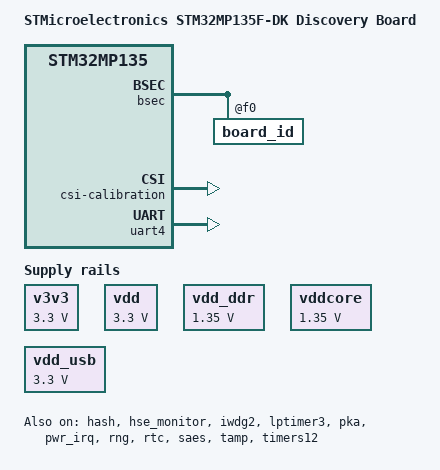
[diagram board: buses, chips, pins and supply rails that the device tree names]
// SPDX-License-Identifier: (GPL-2.0+ OR BSD-3-Clause)
/*
 * Copyright (C) MYiR 2023 - All Rights Reserved
 * Author: Alexhu <fan.hu@myirtech.com>
 */

/dts-v1/;

#include <dt-bindings/clock/stm32mp13-clksrc.h>
#include <dt-bindings/gpio/gpio.h>
#include <dt-bindings/gpio/stm32mp_gpio.h>
#include <dt-bindings/power/stm32mp1-power.h>
#include <dt-bindings/rtc/rtc-stm32.h>
#include <dt-bindings/soc/stm32mp-tzc400-macro.h>
#include <dt-bindings/soc/stm32mp13-etzpc.h>
#include <dt-bindings/soc/stm32mp13-tzc400.h>
#include "stm32mp135.dtsi"
#include "stm32mp13xf.dtsi"
#include "myb-stm32mp13-pinctrl.dtsi"

/ {
	model = "STMicroelectronics STM32MP135F-DK Discovery Board";
	compatible = "st,stm32mp135f-dk", "st,stm32mp135";

	cpu0-opp-table {
                opp-1000000000 {
                        opp-hz = /bits/ 64 <1000000000>;
                        opp-microvolt = <1350000>;
                        opp-supported-hw = <0x2>;
                        st,opp-default;
                };
		/delete-node/ opp-650000000;
    };

	aliases {
		serial0 = &uart4;
		// serial1 = &usart1;
	};

	chosen {
		stdout-path = "serial0:115200n8";
	};

	v3v3: v3v3 {
		compatible = "regulator-fixed";
		regulator-name = "v3v3";
		regulator-min-microvolt = <3300000>;
		regulator-max-microvolt = <3300000>;
		regulator-always-on;
	};

	vdd: vdd {
		compatible = "regulator-fixed";
		regulator-name = "vdd";
		regulator-min-microvolt = <3300000>;
		regulator-max-microvolt = <3300000>;
	};

	vdd_ddr: vdd_ddr {
		compatible = "regulator-fixed";
		regulator-name = "vdd_ddr";
		regulator-min-microvolt = <1350000>;
		regulator-max-microvolt = <1350000>;
	};

	vddcore: vddcore {
		compatible = "regulator-fixed";
		regulator-name = "vddcore";
		regulator-min-microvolt = <1350000>;
		regulator-max-microvolt = <1350000>;
	};

	vdd_usb: vdd_usb {
		compatible = "regulator-fixed";
		regulator-name = "vdd_usb";
		regulator-min-microvolt = <3300000>;
		regulator-max-microvolt = <3300000>;
	};

};

&adc_2 {
	status = "disabled";
};

&bsec {
	board_id: board_id@f0 {
		reg = <0xf0 0x4>;
		st,non-secure-otp;
	};
};

&cpu0 {
	cpu-supply = <&vddcore>;
};

&etzpc {
	st,decprot = <
		DECPROT(STM32MP1_ETZPC_ADC1_ID, DECPROT_NS_RW, DECPROT_UNLOCK)
		DECPROT(STM32MP1_ETZPC_ADC2_ID, DECPROT_NS_RW, DECPROT_UNLOCK)
		DECPROT(STM32MP1_ETZPC_BKPSRAM_ID, DECPROT_S_RW, DECPROT_UNLOCK)
		DECPROT(STM32MP1_ETZPC_CRYP_ID, DECPROT_NS_RW, DECPROT_UNLOCK)
		DECPROT(STM32MP1_ETZPC_DCMIPP_ID, DECPROT_NS_RW, DECPROT_UNLOCK)
		DECPROT(STM32MP1_ETZPC_DDRCTRLPHY_ID, DECPROT_NS_R_S_W, DECPROT_UNLOCK)
		DECPROT(STM32MP1_ETZPC_ETH1_ID, DECPROT_NS_RW, DECPROT_UNLOCK)
		DECPROT(STM32MP1_ETZPC_ETH2_ID, DECPROT_NS_RW, DECPROT_UNLOCK)
		DECPROT(STM32MP1_ETZPC_FMC_ID, DECPROT_NS_RW, DECPROT_UNLOCK)
		DECPROT(STM32MP1_ETZPC_HASH_ID, DECPROT_S_RW, DECPROT_UNLOCK)
		DECPROT(STM32MP1_ETZPC_I2C3_ID, DECPROT_NS_RW, DECPROT_UNLOCK)
		DECPROT(STM32MP1_ETZPC_I2C4_ID, DECPROT_NS_RW, DECPROT_UNLOCK)
		DECPROT(STM32MP1_ETZPC_I2C5_ID, DECPROT_NS_RW, DECPROT_UNLOCK)
		DECPROT(STM32MP1_ETZPC_IWDG1_ID, DECPROT_S_RW, DECPROT_UNLOCK)
		DECPROT(STM32MP1_ETZPC_LPTIM2_ID, DECPROT_NS_RW, DECPROT_UNLOCK)
		DECPROT(STM32MP1_ETZPC_LPTIM3_ID, DECPROT_S_RW, DECPROT_UNLOCK)
		DECPROT(STM32MP1_ETZPC_LTDC_ID, DECPROT_NS_RW, DECPROT_UNLOCK)
		DECPROT(STM32MP1_ETZPC_MCE_ID, DECPROT_S_RW, DECPROT_UNLOCK)
		DECPROT(STM32MP1_ETZPC_OTG_ID, DECPROT_NS_RW, DECPROT_UNLOCK)
		DECPROT(STM32MP1_ETZPC_PKA_ID, DECPROT_S_RW, DECPROT_UNLOCK)
		DECPROT(STM32MP1_ETZPC_QSPI_ID, DECPROT_NS_RW, DECPROT_UNLOCK)
		DECPROT(STM32MP1_ETZPC_RNG_ID, DECPROT_S_RW, DECPROT_UNLOCK)
		DECPROT(STM32MP1_ETZPC_SAES_ID, DECPROT_S_RW, DECPROT_UNLOCK)
		DECPROT(STM32MP1_ETZPC_SDMMC1_ID, DECPROT_NS_RW, DECPROT_UNLOCK)
		DECPROT(STM32MP1_ETZPC_SDMMC2_ID, DECPROT_NS_RW, DECPROT_UNLOCK)
		DECPROT(STM32MP1_ETZPC_SPI4_ID, DECPROT_NS_RW, DECPROT_UNLOCK)
		DECPROT(STM32MP1_ETZPC_SPI5_ID, DECPROT_NS_RW, DECPROT_UNLOCK)
		DECPROT(STM32MP1_ETZPC_SRAM1_ID, DECPROT_NS_RW, DECPROT_UNLOCK)
		DECPROT(STM32MP1_ETZPC_SRAM2_ID, DECPROT_NS_RW, DECPROT_UNLOCK)
		DECPROT(STM32MP1_ETZPC_SRAM3_ID, DECPROT_S_RW, DECPROT_UNLOCK)
		DECPROT(STM32MP1_ETZPC_STGENC_ID, DECPROT_S_RW, DECPROT_UNLOCK)
		DECPROT(STM32MP1_ETZPC_TIM12_ID, DECPROT_S_RW, DECPROT_UNLOCK)
		DECPROT(STM32MP1_ETZPC_TIM13_ID, DECPROT_NS_RW, DECPROT_UNLOCK)
		DECPROT(STM32MP1_ETZPC_TIM14_ID, DECPROT_NS_RW, DECPROT_UNLOCK)
		DECPROT(STM32MP1_ETZPC_TIM15_ID, DECPROT_S_RW, DECPROT_UNLOCK)
		DECPROT(STM32MP1_ETZPC_TIM16_ID, DECPROT_NS_RW, DECPROT_UNLOCK)
		DECPROT(STM32MP1_ETZPC_TIM17_ID, DECPROT_NS_RW, DECPROT_UNLOCK)
		DECPROT(STM32MP1_ETZPC_USART1_ID, DECPROT_NS_RW, DECPROT_UNLOCK)
		DECPROT(STM32MP1_ETZPC_USART2_ID, DECPROT_NS_RW, DECPROT_UNLOCK)
		DECPROT(STM32MP1_ETZPC_USBPHYCTRL_ID, DECPROT_NS_RW, DECPROT_UNLOCK)
		DECPROT(STM32MP1_ETZPC_VREFBUF_ID, DECPROT_NS_RW, DECPROT_UNLOCK)
	>;
};

&gpioi {
	st,protreg = < (TZPROT(3)) >;
};

&hash {
	status = "okay";
};

&hse_monitor {
	status = "okay";
};

&i2c4 {
	pinctrl-names = "default";
	// pinctrl-0 = <&i2c4_pins_a>;
	i2c-scl-rising-time-ns = <185>;
	i2c-scl-falling-time-ns = <20>;
	clock-frequency = <400000>;
	status = "disabled";
};

&iwdg2 {
	timeout-sec = <32>;
	secure-timeout-sec = <5>;
	status = "okay";
};

&lptimer3 {
	status = "okay";

	counter {
		status = "okay";
	};
};

&ltdc {
	pinctrl-names = "default";
	pinctrl-0 = <&ltdc_pins_a>;
	status = "disabled";
};

&oem_enc_key {
	st,non-secure-otp-provisioning;
};

&osc_calibration {
	csi-calibration {
		status = "okay";
	};

	hsi-calibration {
		status = "okay";
	};
};

&pka {
	status = "okay";
};

&pwr_irq {
	pinctrl-names = "default";
	pinctrl-0 = <&wakeup_pins>;
	status = "okay";
};

&pwr_regulators {
	system_suspend_supported_soc_modes = <
		STM32_PM_CSLEEP_RUN
		STM32_PM_CSTOP_ALLOW_LP_STOP
		STM32_PM_CSTOP_ALLOW_LPLV_STOP
		STM32_PM_CSTOP_ALLOW_LPLV_STOP2
		STM32_PM_CSTOP_ALLOW_STANDBY_DDR_SR
	>;

	system_off_soc_mode = <STM32_PM_SHUTDOWN>;
	vdd-supply = <&vdd>;
	vdd_3v3_usbfs-supply = <&vdd_usb>;
};

&rcc {
	// compatible = "st,stm32mp13-rcc", "syscon", "st,stm32mp13-rcc-mco";
	// pinctrl-0 = <&rcc_mco_pins_a>;
	// pinctrl-names = "default";

	st,clksrc = <
		CLK_MPU_PLL1P
		CLK_AXI_PLL2P
		CLK_MLAHBS_PLL3
		CLK_RTC_LSE
		CLK_MCO1_DISABLED
		CLK_MCO2_DISABLED
		CLK_CKPER_HSE
		CLK_ETH1_PLL4P
		CLK_ETH2_PLL4P
		CLK_SDMMC1_PLL4P
		CLK_SDMMC2_PLL4P
		CLK_STGEN_HSE
		CLK_USBPHY_HSE
		CLK_I2C3_HSI
		CLK_I2C4_HSI
		CLK_I2C5_HSI
		CLK_USBO_USBPHY
		CLK_ADC2_CKPER
		CLK_I2C12_HSI
		CLK_UART1_HSI
		CLK_UART2_HSI
		CLK_UART35_HSI
		CLK_UART4_HSI
		CLK_UART6_HSI
		CLK_UART78_HSI
		CLK_FDCAN_PLL4R
		CLK_SAES_AXI
		CLK_DCMIPP_PLL2Q
		CLK_LPTIM3_PCLK3
		CLK_RNG1_PLL4R
		CLK_QSPI_ACLK
	>;

	st,clkdiv = <
		DIV(DIV_MPU, 1)
		DIV(DIV_AXI, 0)
		DIV(DIV_MLAHB, 0)
		DIV(DIV_APB1, 1)
		DIV(DIV_APB2, 1)
		DIV(DIV_APB3, 1)
		DIV(DIV_APB4, 1)
		DIV(DIV_APB5, 2)
		DIV(DIV_APB6, 1)
		DIV(DIV_RTC, 0)
		DIV(DIV_MCO1, 0)
		DIV(DIV_MCO2, 0)
	>;

	st,pll_vco {
		pll1_vco_2000Mhz: pll1-vco-2000Mhz {
			src = < CLK_PLL12_HSE >;
			divmn = < 1 82 >;
			frac = < 0xAAA >;
		};

		pll1_vco_1300Mhz: pll1-vco-1300Mhz {
			src = < CLK_PLL12_HSE >;
			divmn = < 2 80 >;
			frac = < 0x800 >;
		};

		pll2_vco_1066Mhz: pll2-vco-1066Mhz {
			src = < CLK_PLL12_HSE >;
			divmn = < 2 65 >;
			frac = < 0x1400 >;
		};

		pll3_vco_417_8Mhz: pll3-vco-417_8Mhz {
			src = < CLK_PLL3_HSE >;
			divmn = < 1 33 >;
			frac = < 0x1a04 >;
		};

		pll4_vco_600Mhz: pll4-vco-600Mhz {
			src = < CLK_PLL4_HSE >;
			divmn = < 1 49 >;
		};
	};

	/* VCO = 1300.0 MHz => P = 650 (CPU) */
	pll1:st,pll@0 {
		compatible = "st,stm32mp1-pll";
		reg = <0>;

		st,pll = < &pll1_cfg1 >;

		pll1_cfg1: pll1_cfg1 {
			st,pll_vco = < &pll1_vco_1300Mhz >;
			st,pll_div_pqr = < 0 1 1 >;
		};

		pll1_cfg2: pll1_cfg2 {
			st,pll_vco = < &pll1_vco_2000Mhz >;
			st,pll_div_pqr = < 0 1 1 >;
		};
	};

	/* VCO = 1066.0 MHz => P = 266 (AXI), Q = 266, R = 533 (DDR) */
	pll2:st,pll@1 {
		compatible = "st,stm32mp1-pll";
		reg = <1>;

		st,pll = < &pll2_cfg1 >;

		pll2_cfg1: pll2_cfg1 {
			st,pll_vco = < &pll2_vco_1066Mhz >;
			st,pll_div_pqr = < 1 1 0 >;
		};
	};

	/* VCO = 417.8 MHz => P = 209, Q = 24, R = 11 */
	pll3:st,pll@2 {
		compatible = "st,stm32mp1-pll";
		reg = <2>;

		st,pll = < &pll3_cfg1 >;

		pll3_cfg1: pll3_cfg1 {
			st,pll_vco = < &pll3_vco_417_8Mhz >;
			st,pll_div_pqr = < 1 16 36 >;
		};
	};

	/* VCO = 600.0 MHz => P = 50, Q = 10, R = 50 */
	pll4:st,pll@3 {
		compatible = "st,stm32mp1-pll";
		reg = <3>;
		st,pll = < &pll4_cfg1 >;

		pll4_cfg1: pll4_cfg1 {
			st,pll_vco = < &pll4_vco_600Mhz >;
			st,pll_div_pqr = < 11 59 11 >;
		};
	};

	st,clk_opp {
		/* CK_MPU clock config for MP13 */
		st,ck_mpu {

			cfg_1 {
				hz = < 1000000000 >;
				st,clksrc = < CLK_MPU_PLL1P >;
				st,pll = < &pll1_cfg2 >;
			};

			cfg_2 {
				hz = < 650000000 >;
				st,clksrc = < CLK_MPU_PLL1P >;
				st,pll = < &pll1_cfg1 >;
			};
		};
	};
};

&rng {
	status = "okay";
	clock-error-detect;
};

&rtc {
	status = "okay";
};

&saes {
	status = "okay";
};

&tamp {
	status = "okay";
	// st,tamp_passive_nb_sample = <4>;
	// st,tamp_passive_sample_clk_div = <16384>;

	// tamp_passive@2 {
	// 	pinctrl-0 = <&tamp0_in2_pin_a>;
	// 	status = "okay";
	// };

	// /* Connect pin8 and pin22 from CN3 */
	// tamp_active@1 {
	// 	pinctrl-0 = <&tamp0_in3_pin_a &tamp0_out1_pin_a>;
	// 	status = "disabled";
	// };
};

&timers12 {
	status = "okay";

	counter {
		status = "okay";
	};
};

&tzc400 {
	memory-region =	<&optee_framebuffer>;
};

&uart4 {
	pinctrl-names = "default";
	pinctrl-0 = <&uart4_pins_a>;
	status = "okay";
};

&usart1 {
	pinctrl-names = "default";
	status = "disabled";
};

&uart8 {
	pinctrl-names = "default";
	// pinctrl-0 = <&uart8_pins_a>;
	status = "disabled";
};

&wakeup_pin_1 {
	bias-pull-up;
};

// &wakeup_pin_5 {
// 	bias-pull-up;
// };
